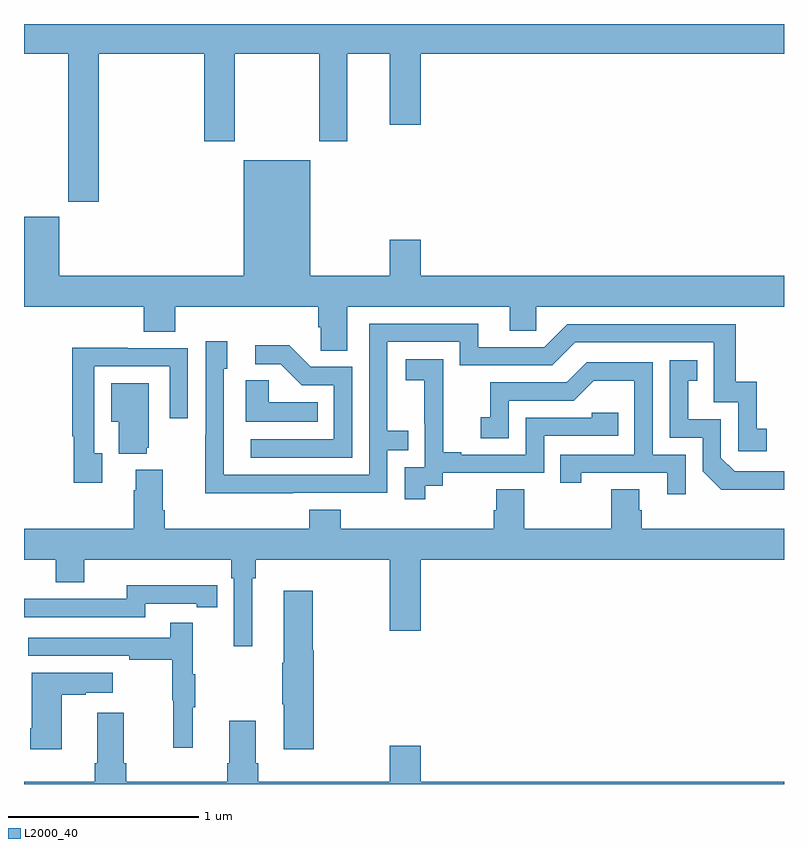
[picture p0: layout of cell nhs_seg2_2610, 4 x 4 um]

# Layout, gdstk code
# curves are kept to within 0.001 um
import gdstk
lib = gdstk.Library(unit=1e-6, precision=1e-09)
def P(c, l, *ps):  # polygons
    for p in ps: c.add(gdstk.Polygon(p, *l))
L2000_40 = (2000, 40)

nhs_seg2_2610 = lib.new_cell('nhs_seg2_2610')
P(nhs_seg2_2610, L2000_40, [(247.394,639.644),(247.949,639.644),(247.949,639.183),(248.109,639.183),(248.109,639.644),(248.554,639.644),(248.554,639.183),(248.701,639.183),(248.701,639.644),(248.924,639.644),(248.924,639.27),(249.088,639.27),(249.088,639.644),(251,639.644),(251,639.8),(247,639.8),(247,639.644),(247.234,639.644),(247.234,638.865),(247.394,638.865)],
  [(248.701,638.312),(249.557,638.312),(249.557,638.185),(249.696,638.185),(249.696,638.312),(251,638.312),(251,638.476),(249.088,638.476),(249.088,638.665),(248.924,638.665),(248.924,638.476),(248.506,638.476),(248.506,639.082),(248.156,639.082),(248.156,638.476),(247.186,638.476),(247.186,638.785),(247,638.785),(247,638.312),(247.631,638.312),(247.631,638.179),(247.796,638.179),(247.796,638.312),(248.549,638.312),(248.549,638.203),(248.562,638.203),(248.562,638.08),(248.701,638.08)],
  [(248.417,637.332),(248.913,637.332),(248.913,637.557),(249.023,637.557),(249.023,637.658),(248.913,637.658),(248.913,638.127),(249.294,638.127),(249.294,638.004),(249.78,638.004),(249.9,638.124),(250.629,638.124),(250.629,637.809),(250.758,637.809),(250.758,637.551),(250.909,637.551),(250.909,637.671),(250.856,637.671),(250.856,637.918),(250.745,637.918),(250.745,638.22),(249.858,638.22),(249.738,638.1),(249.391,638.1),(249.391,638.223),(248.817,638.223),(248.817,637.428),(248.052,637.428),(248.052,637.986),(248.071,637.986),(248.071,638.131),(247.956,638.131),(247.956,637.637),(247.954,637.637),(247.954,637.331)],
  [(248.727,637.995),(248.508,637.995),(248.395,638.108),(248.217,638.108),(248.217,638.01),(248.351,638.01),(248.462,637.899),(248.631,637.899),(248.631,637.614),(248.193,637.614),(248.193,637.518),(248.727,637.518)],
  [(247.411,637.542),(247.371,637.542),(247.371,637.998),(247.767,637.998),(247.767,637.725),(247.863,637.725),(247.863,638.094),(247.547,638.094),(247.547,638.096),(247.255,638.096),(247.255,637.63),(247.263,637.63),(247.263,637.386),(247.411,637.386)],
  [(249.112,637.369),(249.204,637.369),(249.204,637.437),(249.738,637.437),(249.738,637.632),(250.127,637.632),(250.127,637.755),(249.987,637.755),(249.987,637.728),(249.642,637.728),(249.642,637.533),(249.301,637.533),(249.301,637.546),(249.206,637.546),(249.206,637.829),(249.207,637.829),(249.207,638.035),(249.009,638.035),(249.009,637.925),(249.107,637.925),(249.107,637.697),(249.108,637.697),(249.108,637.467),(249.003,637.467),(249.003,637.299),(249.112,637.299)],
  [(251,637.446),(250.74,637.446),(250.668,637.518),(250.668,637.719),(250.495,637.719),(250.495,637.923),(250.544,637.923),(250.544,638.029),(250.398,638.029),(250.398,637.623),(250.572,637.623),(250.572,637.446),(250.67,637.349),(251,637.349)],
  [(250.482,637.533),(250.308,637.533),(250.308,638.019),(249.962,638.019),(249.857,637.914),(249.454,637.914),(249.454,637.729),(249.405,637.729),(249.405,637.62),(249.552,637.62),(249.552,637.818),(249.894,637.818),(249.998,637.922),(250.212,637.922),(250.212,637.533),(249.823,637.533),(249.823,637.386),(249.934,637.386),(249.934,637.437),(250.385,637.437),(250.385,637.326),(250.482,637.326)],
  [(248.546,637.81),(248.289,637.81),(248.289,637.925),(248.168,637.925),(248.168,637.706),(248.546,637.706)],
  [(247.646,637.569),(247.657,637.569),(247.657,637.909),(247.46,637.909),(247.46,637.706),(247.499,637.706),(247.499,637.538),(247.646,637.538)],
  [(248.2,636.884),(248.219,636.884),(248.219,636.98),(248.924,636.98),(248.924,636.606),(249.088,636.606),(249.088,636.98),(251,636.98),(251,637.144),(250.25,637.144),(250.25,637.242),(250.237,637.242),(250.237,637.352),(250.09,637.352),(250.09,637.144),(249.633,637.144),(249.633,637.352),(249.485,637.352),(249.485,637.242),(249.473,637.242),(249.473,637.144),(248.666,637.144),(248.666,637.243),(248.501,637.243),(248.501,637.144),(247.742,637.144),(247.742,637.24),(247.729,637.24),(247.729,637.453),(247.589,637.453),(247.589,637.346),(247.577,637.346),(247.577,637.144),(247,637.144),(247,636.98),(247.166,636.98),(247.166,636.863),(247.318,636.863),(247.318,636.98),(248.09,636.98),(248.09,636.884),(248.103,636.884),(248.103,636.525),(248.2,636.525)],
  [(247.638,636.75),(247.91,636.75),(247.91,636.73),(248.018,636.73),(248.018,636.846),(247.91,636.846),(247.91,636.847),(247.542,636.847),(247.542,636.774),(247.082,636.774),(247.082,636.776),(247,636.776),(247,636.678),(247.638,636.678)],
  [(248.525,636.504),(248.52,636.504),(248.52,636.817),(248.366,636.817),(248.366,636.437),(248.359,636.437),(248.359,636.22),(248.366,636.22),(248.366,635.982),(248.525,635.982)],
  [(247.889,636.203),(247.9,636.203),(247.9,636.377),(247.889,636.377),(247.889,636.649),(247.771,636.649),(247.771,636.57),(247.023,636.57),(247.023,636.474),(247.555,636.474),(247.555,636.454),(247.779,636.454),(247.779,636.24),(247.786,636.24),(247.786,635.991),(247.889,635.991)],
  [(247.198,636.271),(247.325,636.271),(247.325,636.281),(247.468,636.281),(247.468,636.385),(247.04,636.385),(247.04,636.094),(247.033,636.094),(247.033,635.982),(247.198,635.982)],
  [(251,635.812),(249.088,635.812),(249.088,636.001),(248.924,636.001),(248.924,635.812),(248.234,635.812),(248.234,635.908),(248.221,635.908),(248.221,636.133),(248.081,636.133),(248.081,635.908),(248.069,635.908),(248.069,635.812),(247.538,635.812),(247.538,635.908),(247.525,635.908),(247.525,636.175),(247.385,636.175),(247.385,635.908),(247.373,635.908),(247.373,635.812),(247,635.812),(247,635.8),(251,635.8)])

lib.write_gds('nhs_seg2_2610.gds')
